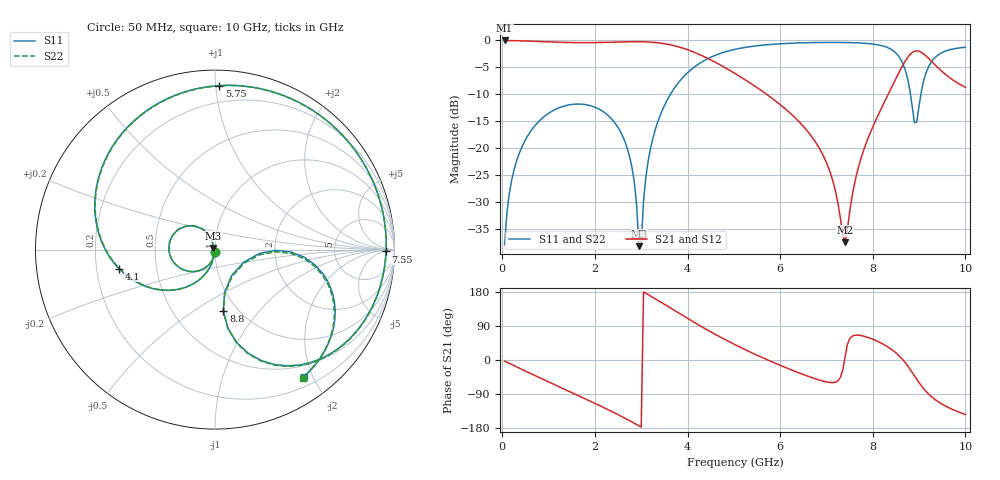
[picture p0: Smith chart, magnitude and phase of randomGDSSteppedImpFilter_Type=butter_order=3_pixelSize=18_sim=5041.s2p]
! freq	dB(S11)	phase(S11)	dB(S12)	phase(S12)
!  dB(S21)	phase(S21)	dB(S22)	phase(S22)
!S-par simulation data
#  GHz  S  DB  R 50
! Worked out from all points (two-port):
!   200 points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, 50 MHz to 10 GHz, reference 50 ohm
!   highest |S21| = -0.01 dB at 50 MHz (marker M1); lowest = -37.4 dB at 7.4 GHz (marker M2)
!   |S21| within 3 dB of the highest: start of sweep to 4.359 GHz; 8.767 GHz to 9.165 GHz (398.2 MHz wide, 4.44 % of centre)
!   lowest |S11| = -38.2 dB at 2.95 GHz (marker M3), VSWR 1.02, Z = 49.1 + j0.856 ohm
!   |S11| at or under -10 dB: start of sweep to 3.631 GHz; 8.813 GHz to 9.039 GHz (225.8 MHz wide, 2.53 % of centre)
!   |S22| runs from -38.8 to -0.4 dB; largest |S21 - S12| = 0
!   S11 on the Smith chart (normalised r, x): 50 MHz: 1.00, -0.03; 4.1 GHz: 0.30, -0.09; 5.75 GHz: 0.09, +1.02; 7.55 GHz: 40, -9; 8.8 GHz: 0.86, -0.67; 10 GHz: 0.33, -1.87
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0.05  -37.92 -92.4  -0.01 -3.0  -0.01 -3.0  -37.93 -92.4
0.2  -26.03 -101.7  -0.03 -11.8  -0.03 -11.8  -26.03 -101.8
0.5  -18.43 -119.6  -0.10 -29.2  -0.10 -29.2  -18.43 -119.7
1.75  -11.86 169.8  -0.42 -100.0  -0.42 -100.0  -11.86 169.4
2.65  -18.81 118.3  -0.26 -153.7  -0.26 -153.7  -18.82 117.3
2.85  -26.29 109.9  -0.23 -166.8  -0.23 -166.8  -26.32 107.8
2.95  -38.18 135.1  -0.24 -173.6  -0.24 -173.6  -38.79 129.2
3.15  -22.36 -103.7  -0.29 172.5  -0.29 172.5  -22.38 -102.9
3.4  -14.10 -118.5  -0.48 154.5  -0.48 154.5  -14.11 -118.5
4.1  -5.26 -168.8  -2.04 102.6  -2.04 102.6  -5.26 -169.2
5.05  -1.61 128.2  -6.26 38.9  -6.26 38.9  -1.61 127.6
5.75  -0.78 88.5  -10.26 -0.9  -10.26 -0.9  -0.78 87.7
6.7  -0.40 40.2  -18.07 -47.1  -18.07 -47.1  -0.40 39.4
7.1  -0.37 21.0  -25.00 -59.5  -25.00 -59.5  -0.37 20.2
7.4  -0.39 6.6  -37.45 7.0  -37.45 7.0  -0.39 5.9
7.55  -0.42 -0.6  -29.08 62.3  -29.08 62.3  -0.42 -1.3
8.35  -1.44 -45.9  -9.68 32.6  -9.68 32.6  -1.44 -46.3
8.8  -9.22 -82.2  -2.65 -23.3  -2.65 -23.3  -9.16 -82.1
8.95  -15.11 -23.2  -1.93 -50.8  -1.93 -50.8  -14.89 -24.5
9.1  -7.45 -1.8  -2.51 -75.8  -2.51 -75.8  -7.42 -2.9
9.45  -2.47 -27.1  -5.41 -113.1  -5.41 -113.1  -2.47 -27.9
10  -1.27 -55.1  -8.70 -143.8  -8.70 -143.8  -1.27 -55.7
